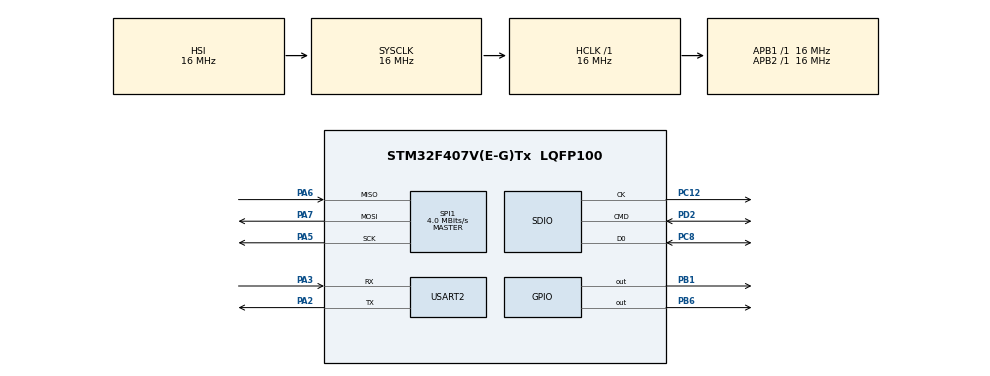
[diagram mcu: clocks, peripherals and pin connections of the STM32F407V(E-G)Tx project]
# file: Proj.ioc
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FATFS._MAX_SS=4096
FATFS._USE_LFN=1
Mcu.Family=STM32F4
Mcu.Name=STM32F407V(E-G)Tx
Mcu.Package=LQFP100
NVIC.PriorityGroup=NVIC_PRIORITYGROUP_4
PA13.Mode=Serial_Wire
PA13.Signal=SYS_JTMS-SWDIO
PA14.Mode=Serial_Wire
PA14.Signal=SYS_JTCK-SWCLK
PA2.Mode=Asynchronous
PA2.Signal=USART2_TX
PA3.Mode=Asynchronous
PA3.Signal=USART2_RX
PA5.Mode=Full_Duplex_Master
PA5.Signal=SPI1_SCK
PA6.Mode=Full_Duplex_Master
PA6.Signal=SPI1_MISO
PA7.Mode=Full_Duplex_Master
PA7.Signal=SPI1_MOSI
PB1.GPIO_Speed=GPIO_SPEED_FREQ_MEDIUM
PB1.Signal=GPIO_Output
PB6.GPIO_Speed=GPIO_SPEED_FREQ_MEDIUM
PB6.Signal=GPIO_Output
PC12.GPIO_PuPd=GPIO_PULLUP
PC12.Mode=SD_1_bit
PC12.Signal=SDIO_CK
PC8.GPIO_PuPd=GPIO_PULLUP
PC8.Mode=SD_1_bit
PC8.Signal=SDIO_D0
PD2.GPIO_PuPd=GPIO_PULLUP
PD2.Mode=SD_1_bit
PD2.Signal=SDIO_CMD
PH0-OSC_IN.Mode=HSE-External-Clock-Source
PH0-OSC_IN.Signal=RCC_OSC_IN
PH1-OSC_OUT.Mode=HSE-External-Clock-Source
PH1-OSC_OUT.Signal=RCC_OSC_OUT
ProjectManager.HeapSize=0x200
ProjectManager.StackSize=0x400
ProjectManager.TargetToolchain=TrueSTUDIO
RCC.AHBFreq_Value=16000000
RCC.APB1Freq_Value=16000000
RCC.APB2Freq_Value=16000000
RCC.CortexFreq_Value=16000000
RCC.HSE_VALUE=25000000
RCC.HSI_VALUE=16000000
RCC.LSE_VALUE=32768
RCC.SYSCLKFreq_VALUE=16000000
RCC.VCOOutputFreq_Value=192000000
SPI1.BaudRatePrescaler=SPI_BAUDRATEPRESCALER_4
SPI1.CLKPolarity=SPI_POLARITY_LOW
SPI1.CalculateBaudRate=4.0 MBits/s
SPI1.Direction=SPI_DIRECTION_2LINES
SPI1.Mode=SPI_MODE_MASTER
SPI1.VirtualType=VM_MASTER
USART2.VirtualMode=VM_ASYNC
VP_FATFS_VS_SDIO.Mode=SDIO
board=custom

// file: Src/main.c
/* USER CODE BEGIN Header */
/**
  ******************************************************************************
  * @file           : main.c
  * @brief          : Main program body
  ******************************************************************************
  * @attention
  *
  * <h2><center>&copy; Copyright (c) 2020 STMicroelectronics.
  * All rights reserved.</center></h2>
  *
  * This software component is licensed by ST under BSD 3-Clause license,
  * the "License"; You may not use this file except in compliance with the
  * License. You may obtain a copy of the License at:
  *                        opensource.org/licenses/BSD-3-Clause
  *
  ******************************************************************************
  */
/* USER CODE END Header */

#include "main.h"
#include "fatfs.h"

/* USER CODE BEGIN Includes */
#include "net.h"
/* USER CODE END Includes */

/* USER CODE BEGIN PTD */
#define	MAIN_CODE_FROM_L91
#define	DEBUG_READ_ALL_REGS
//#define	DEBUG_TEST_SPI_AS_23_LESSONS
//#define	DEBUG_SPI_READ_ANY_REGS
//#define	DEBUG_TEST_SPI_WRITE_AND_READE_FEW//пишем что то и желаем прочитать обратно это
/* USER CODE END PTD */

SD_HandleTypeDef hsd;

SPI_HandleTypeDef hspi1;

UART_HandleTypeDef huart2;

/* USER CODE BEGIN PV */
#ifdef	DEBUG_TEST_SPI_AS_23_LESSONS
	//некоторые дефайны для управления ножкой Chip Select
#define cs_set() HAL_GPIO_WritePin(GPIOB, GPIO_PIN_6, GPIO_PIN_RESET)
#define cs_reset() HAL_GPIO_WritePin(GPIOB, GPIO_PIN_6, GPIO_PIN_SET)
#define cs_strob() cs_reset();cs_set()
uint8_t aTxBuffer[1]={0};
#endif
/* USER CODE END PV */

void SystemClock_Config(void);
static void MX_GPIO_Init(void);
static void MX_SDIO_SD_Init(void);
static void MX_SPI1_Init(void);
static void MX_USART2_UART_Init(void);

int main(void)
{

  /* MCU Configuration--------------------------------------------------------*/

  /* Reset of all peripherals, Initializes the Flash interface and the Systick. */
  HAL_Init();

  /* Configure the system clock */
  SystemClock_Config();

  /* Initialize all configured peripherals */
  MX_GPIO_Init();
  MX_SDIO_SD_Init();
  MX_SPI1_Init();
  MX_USART2_UART_Init();
  MX_FATFS_Init();
  /* USER CODE BEGIN 2 */
#ifdef	MAIN_CODE_FROM_L91
  net_ini();
#endif
#ifdef	DEBUG_TEST_SPI_AS_23_LESSONS
  uint8_t i=0;
	cs_set();
	aTxBuffer[0]=0x01;
	HAL_SPI_Transmit (&hspi1, (uint8_t*)aTxBuffer, 1, 5000);
	cs_strob();
	HAL_Delay(100);
	aTxBuffer[0]=0xFF;
	HAL_SPI_Transmit (&hspi1, (uint8_t*)aTxBuffer, 1, 5000);
	cs_strob();
	HAL_Delay(100);
#endif
  /* USER CODE END 2 */

  /* Infinite loop */
  /* USER CODE BEGIN WHILE */
#ifdef	DEBUG_TEST_SPI_WRITE_AND_READE_FEW
	int8_t nRepit4Write = 0;
	uint8_t wstartAdr = 1;
  uint8_t wnCicl = 4;
  uint8_t wnByteRead = 1;
  uint8_t wbsb = 0;
  uint8_t wrwb = 1;
  uint8_t wom = 1;
  uint8_t i = 0;
  uint8_t buf[] = {0,0,0,0};
  uint8_t wopcode;
  uint8_t sendarr[] = {0x11,0x22,0x33,0x44};
		  for (int var = 0; var < 3; var++)
		  {
			  HAL_Delay(100);
			  wopcode = (((wbsb << 3)|(wrwb << 2))|wom);//BSB + RWB + OM
				  i = 0;
				for (int wadr = wstartAdr; wadr < (wstartAdr + wnCicl); wadr++)
				{
					  uint8_t wwbuf[] = {wadr >> 8, wadr, wopcode, sendarr[i]};
					  SS_SELECT();
					  HAL_SPI_TransmitReceive(&hspi1, wwbuf, buf, (3 + wnByteRead), 0xFFFFFFFF);
					  SS_DESELECT();
					  i++;
					  HAL_Delay(100);
				}
		  }
#endif

	int8_t adr = 0;
  while (1)
  {

#ifdef DEBUG_TEST_SPI_WRITE_AND_READE_FEW
	  		//чтение
	  		HAL_Delay(100);
	  	//	  uint8_t data;
	  			uint8_t startAdr = 1;
	  		  uint8_t nCicl = 4;
	  		  uint8_t nByteRead = 1;
	  		  uint8_t bsb = 0;
	  		  uint8_t rwb = 0;
	  		  uint8_t om = 1;
	  		  uint8_t opcode = (((bsb << 3)|(rwb << 2))|om);//BSB + RWB + OM

	  		for (int adr = startAdr; adr < (startAdr + nCicl); adr++)
	  		{
	  			  uint8_t wbuf[] = {adr >> 8, adr, opcode, 0xF1};
	  			  uint8_t rbuf[(3 + nByteRead)];

	  			  SS_SELECT();
	  			  HAL_SPI_TransmitReceive(&hspi1, wbuf, rbuf, (3 + nByteRead), 0xFFFFFFFF);
	  			  SS_DESELECT();
	  			  HAL_Delay(100);
	  		}
#endif
#ifdef	DEBUG_SPI_READ_ANY_REGS
		//запись
	//	  uint8_t data;

//	  //пример 1. попробую читать как в примерах даташита "1 Byte READ Access Example"
//
////	  Offset Address = 0x0003
////	  BSB[4:0] = ‘11101’
////	  RWB = ‘0’
////	  OM[1:0] = ‘00’
//
////	  11101000 = 0xE8
//	 uint8_t res = w5500_readReg(0xE8, 0x3);
//	 HAL_Delay(100);

	  //пример 2. попробую читать как в примерах даташита  "N-Bytes Read Access Example"

//	  Offset Address = 0x0100
//	  BSB[4:0] = ‘01111’
//	  RWB = ‘0’
//	  OM[1:0] = ‘00’
//	  1st Data = 0xAA
//	  2nd Data = 0xBB
//	  3rd Data = 0xCC
//	  4th Data = 0xDD
//	  5th Data = 0xEE

//	  01111000 = 0x78
//	 w5500_readReg_4Test(0x78, 0x0100);
//	 HAL_Delay(100);

//	  //пример 3. попробую mac адреса
////	  0
//	 w5500_readReg_4Test(0, i);
//	 HAL_Delay(100);
//	 if(i > 0x39)
//		 i =0;
//	 else
//		 i+=5;

	//чтение
	uint8_t bsb = 0;
	uint8_t rwb = 0;
	uint8_t om = 1;
	uint8_t opcode = (((bsb << 3)|(rwb << 2))|om);//BSB + RWB + OM
	uint8_t wbuf[] = {adr >> 8, adr, opcode,0xF1};
	uint8_t rbuf[4];

	SS_SELECT();
	HAL_SPI_TransmitReceive(&hspi1, wbuf, rbuf, 4, 0xFFFFFFFF);
	SS_DESELECT();
	HAL_Delay(100);
	if(adr > 0x39)
		adr = 0;
	else
		adr++;

//	 w5500_readReg(0, 0x39);
//	 HAL_Delay(100);

//	  uint8_t opcode=0;
//	  uint8_t sock_num = 0;
////	  opcode = (((sock_num<<2)|BSB_S0)<<3)|OM_FDM1;
//	  opcode = (((sock_num<<2)|BSB_COMMON)<<3)|OM_FDM1;
//	  uint8_t res = 0;
//	 res = w5500_readReg_4Test(opcode, 0x1E);
//	 HAL_Delay(100);

#else

 #ifdef	DEBUG_TEST_SPI_AS_23_LESSONS

	for(i=0;i<=255;i+=10)
	{
		aTxBuffer[0]=i;
		HAL_SPI_Transmit (&hspi1, (uint8_t*)aTxBuffer, 1, 5000);
		cs_strob();
		//HAL_Delay(1);
	}
 #endif
#endif

#ifdef	DEBUG_READ_ALL_REGS
	//чтение
	uint8_t bsb = 0;
	uint8_t rwb = 0;
	uint8_t om = 1;
	uint8_t opcode = (((bsb << 3)|(rwb << 2))|om);//BSB + RWB + OM
	uint8_t wbuf[] = {adr >> 8, adr, opcode,0xF1};
	uint8_t rbuf[4];

	SS_SELECT();
	HAL_SPI_TransmitReceive(&hspi1, wbuf, rbuf, 4, 0xFFFFFFFF);
	SS_DESELECT();
	HAL_Delay(100);
	if(adr > 0x39)
		adr = 0;
	else
		adr++;
#endif

#ifdef	MAIN_CODE_FROM_L91
//	net_poll();
#endif
    /* USER CODE END WHILE */

  }
}

void SystemClock_Config(void)
{
  RCC_OscInitTypeDef RCC_OscInitStruct = {0};
  RCC_ClkInitTypeDef RCC_ClkInitStruct = {0};

  /** Configure the main internal regulator output voltage
  */
  __HAL_RCC_PWR_CLK_ENABLE();
  __HAL_PWR_VOLTAGESCALING_CONFIG(PWR_REGULATOR_VOLTAGE_SCALE1);
  /** Initializes the CPU, AHB and APB busses clocks
  */
  RCC_OscInitStruct.OscillatorType = RCC_OSCILLATORTYPE_HSI;
  RCC_OscInitStruct.HSIState = RCC_HSI_ON;
  RCC_OscInitStruct.HSICalibrationValue = RCC_HSICALIBRATION_DEFAULT;
  RCC_OscInitStruct.PLL.PLLState = RCC_PLL_ON;
  RCC_OscInitStruct.PLL.PLLSource = RCC_PLLSOURCE_HSI;
  RCC_OscInitStruct.PLL.PLLM = 16;
  RCC_OscInitStruct.PLL.PLLN = 192;
  RCC_OscInitStruct.PLL.PLLP = RCC_PLLP_DIV2;
  RCC_OscInitStruct.PLL.PLLQ = 4;
  if (HAL_RCC_OscConfig(&RCC_OscInitStruct) != HAL_OK)
  {
    Error_Handler();
  }
  /** Initializes the CPU, AHB and APB busses clocks
  */
  RCC_ClkInitStruct.ClockType = RCC_CLOCKTYPE_HCLK|RCC_CLOCKTYPE_SYSCLK
                              |RCC_CLOCKTYPE_PCLK1|RCC_CLOCKTYPE_PCLK2;
  RCC_ClkInitStruct.SYSCLKSource = RCC_SYSCLKSOURCE_HSI;
  RCC_ClkInitStruct.AHBCLKDivider = RCC_SYSCLK_DIV1;
  RCC_ClkInitStruct.APB1CLKDivider = RCC_HCLK_DIV1;
  RCC_ClkInitStruct.APB2CLKDivider = RCC_HCLK_DIV1;

  if (HAL_RCC_ClockConfig(&RCC_ClkInitStruct, FLASH_LATENCY_0) != HAL_OK)
  {
    Error_Handler();
  }
}

static void MX_SDIO_SD_Init(void)
{

  hsd.Instance = SDIO;
  hsd.Init.ClockEdge = SDIO_CLOCK_EDGE_RISING;
  hsd.Init.ClockBypass = SDIO_CLOCK_BYPASS_DISABLE;
  hsd.Init.ClockPowerSave = SDIO_CLOCK_POWER_SAVE_DISABLE;
  hsd.Init.BusWide = SDIO_BUS_WIDE_1B;
  hsd.Init.HardwareFlowControl = SDIO_HARDWARE_FLOW_CONTROL_DISABLE;
  hsd.Init.ClockDiv = 0;

}

static void MX_SPI1_Init(void)
{

  /* SPI1 parameter configuration*/
  hspi1.Instance = SPI1;
  hspi1.Init.Mode = SPI_MODE_MASTER;
  hspi1.Init.Direction = SPI_DIRECTION_2LINES;
  hspi1.Init.DataSize = SPI_DATASIZE_8BIT;
  hspi1.Init.CLKPolarity = SPI_POLARITY_LOW;
  hspi1.Init.CLKPhase = SPI_PHASE_1EDGE;
  hspi1.Init.NSS = SPI_NSS_SOFT;
  hspi1.Init.BaudRatePrescaler = SPI_BAUDRATEPRESCALER_4;
  hspi1.Init.FirstBit = SPI_FIRSTBIT_MSB;
  hspi1.Init.TIMode = SPI_TIMODE_DISABLE;
  hspi1.Init.CRCCalculation = SPI_CRCCALCULATION_DISABLE;
  hspi1.Init.CRCPolynomial = 10;
  if (HAL_SPI_Init(&hspi1) != HAL_OK)
  {
    Error_Handler();
  }

}

static void MX_USART2_UART_Init(void)
{

  huart2.Instance = USART2;
  huart2.Init.BaudRate = 115200;
  huart2.Init.WordLength = UART_WORDLENGTH_8B;
  huart2.Init.StopBits = UART_STOPBITS_1;
  huart2.Init.Parity = UART_PARITY_NONE;
  huart2.Init.Mode = UART_MODE_TX_RX;
  huart2.Init.HwFlowCtl = UART_HWCONTROL_NONE;
  huart2.Init.OverSampling = UART_OVERSAMPLING_16;
  if (HAL_UART_Init(&huart2) != HAL_OK)
  {
    Error_Handler();
  }

}

static void MX_GPIO_Init(void)
{
  GPIO_InitTypeDef GPIO_InitStruct = {0};

  /* GPIO Ports Clock Enable */
  __HAL_RCC_GPIOH_CLK_ENABLE();
  __HAL_RCC_GPIOA_CLK_ENABLE();
  __HAL_RCC_GPIOB_CLK_ENABLE();
  __HAL_RCC_GPIOC_CLK_ENABLE();
  __HAL_RCC_GPIOD_CLK_ENABLE();

  /*Configure GPIO pin Output Level */
  HAL_GPIO_WritePin(GPIOB, GPIO_PIN_1|GPIO_PIN_6, GPIO_PIN_RESET);

  /*Configure GPIO pins : PB1 PB6 */
  GPIO_InitStruct.Pin = GPIO_PIN_1|GPIO_PIN_6;
  GPIO_InitStruct.Mode = GPIO_MODE_OUTPUT_PP;
  GPIO_InitStruct.Pull = GPIO_NOPULL;
  GPIO_InitStruct.Speed = GPIO_SPEED_FREQ_MEDIUM;
  HAL_GPIO_Init(GPIOB, &GPIO_InitStruct);

}

void Error_Handler(void)
{
}

/************************ (C) COPYRIGHT STMicroelectronics *****END OF FILE****/
